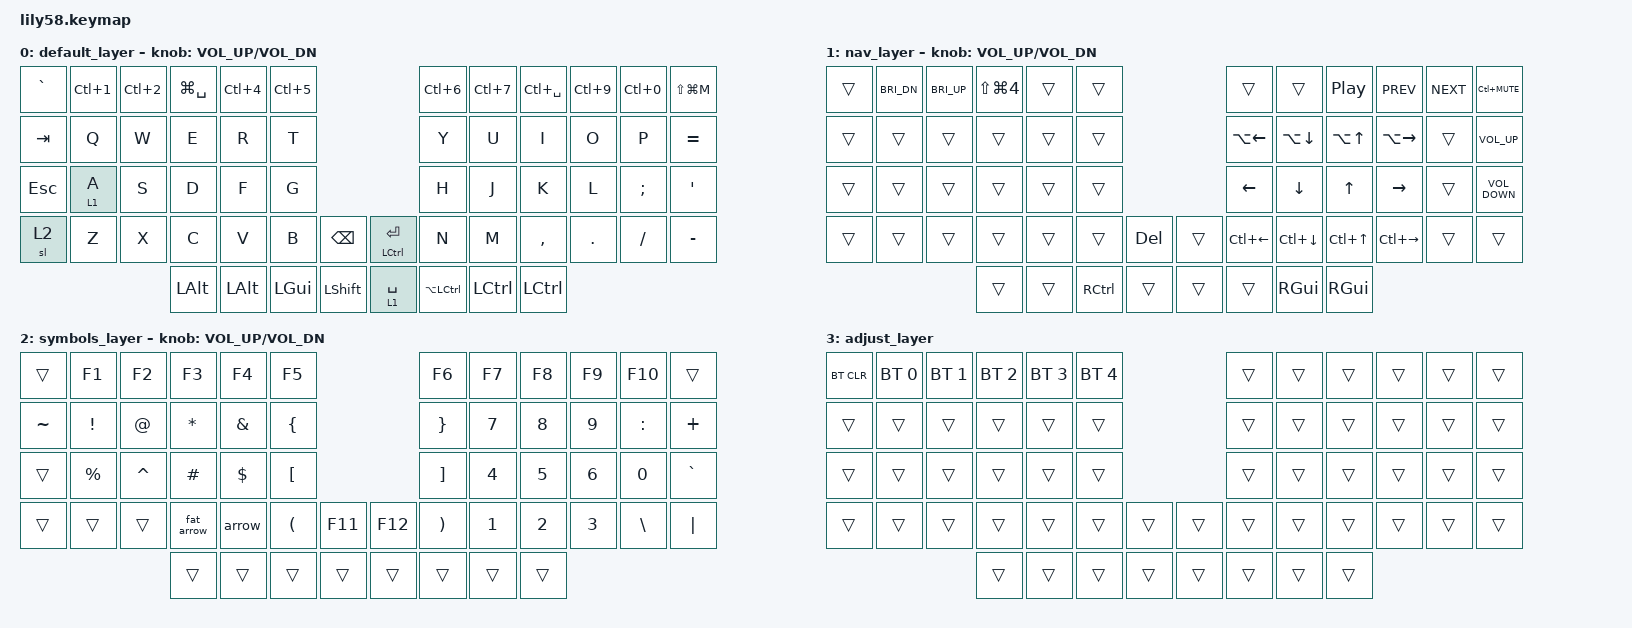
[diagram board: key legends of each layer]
/*
 * Copyright (c) 2020 The ZMK Contributors
 *
 * SPDX-License-Identifier: MIT
 */

#include <behaviors.dtsi>
#include <dt-bindings/zmk/bt.h>
#include <dt-bindings/zmk/keys.h>

/ {
    macros {
        arrow: arrow {
            compatible = "zmk,behavior-macro";
            #binding-cells = <0>;
            bindings = <&kp MINUS &kp GREATER_THAN>;
            label = "ARROW";
        };

        fat_arrow: fat_arrow {
            compatible = "zmk,behavior-macro";
            #binding-cells = <0>;
            bindings = <&kp EQUAL &kp GREATER_THAN>;
            label = "FAT_ARROW";
        };
    };

    combos { compatible = "zmk,combos"; };

    keymap {
        compatible = "zmk,keymap";

        default_layer {
            // ------------------------------------------------------------------------------------------------------------
            // |  ESC  |  1  |  2  |  3   |  4   |  5   |                   |  6   |  7    |  8    |  9   |   0   |   `   |
            // |  TAB  |  Q  |  W  |  E   |  R   |  T   |                   |  Y   |  U    |  I    |  O   |   P   |   -   |
            // |  CTRL |  A  |  S  |  D   |  F   |  G   |                   |  H   |  J    |  K    |  L   |   ;   |   '   |
            // | SHIFT |  Z  |  X  |  C   |  V   |  B   |   "["  |  |  "]"  |  N   |  M    |  ,    |  .   |   /   | SHIFT |
            //                     | ALT  | GUI  | LOWER|  SPACE |  | ENTER | RAISE| BSPC  | GUI   |

            bindings = <
&kp GRAVE   &kp LC(N1)  &kp LC(N2)  &kp LG(SPACE)  &kp LC(N4)    &kp LC(N5)                                            &kp LC(N6)            &kp LC(N7)  &kp LC(SPACE)  &kp LC(NUMBER_9)  &kp LC(NUMBER_0)  &kp LS(LG(M))
&kp TAB     &kp Q       &kp W       &kp E          &kp R         &kp T                                                 &kp Y                 &kp U       &kp I          &kp O             &kp P             &kp EQUAL
&kp ESCAPE  &lt 1 A     &kp S       &kp D          &kp F         &kp G                                                 &kp H                 &kp J       &kp K          &kp L             &kp SEMICOLON     &kp SQT
&sl 2       &kp Z       &kp X       &kp C          &kp V         &kp B       &kp BACKSPACE     &mt LEFT_CONTROL ENTER  &kp N                 &kp M       &kp COMMA      &kp DOT           &kp SLASH         &kp MINUS
                                    &kp LEFT_ALT   &kp LEFT_ALT  &kp LGUI    &kp LEFT_SHIFT    &lt 1 SPACE             &kp LA(LEFT_CONTROL)  &kp LCTRL   &kp LCTRL
            >;

            sensor-bindings = <&inc_dec_kp C_VOL_UP C_VOL_DN>;
        };

        nav_layer {
            // --------------------------------------------------------------------------------------------------------------
            // | LPAD  | BRDn | BRUp |  MUT |  Vo- |  Vo+ |                   |      |       |       |      |       |       |
            // |  F1   |  F2  |  F3  |  F4  |  F5  |  F6  |                   |  F7  |  F8   |  F9   |  F10 |  F11  |  F12  |
            // |   `   |  !   |  @   |  #   |  $   |  %   |                   |  ^   |  &    |  *    |  (   |   )   |   ~   |
            // |       |      |      |      |      |      |        |  |       |      |  _    |  +    |  {   |   }   |  "|"  |
            //                       |      |      |      |        |  |       |      |       |       |

            bindings = <
&trans  &kp C_BRI_DN  &kp C_BRI_UP  &kp LS(LG(NUMBER_4))  &trans  &trans                                   &trans        &trans              &kp C_PLAY_PAUSE  &kp C_PREV     &kp C_NEXT  &kp LC(C_MUTE)
&trans  &trans        &trans        &trans                &trans  &trans                                   &kp LA(LEFT)  &kp LA(DOWN_ARROW)  &kp LA(UP_ARROW)  &kp LA(RIGHT)  &trans      &kp C_VOL_UP
&trans  &trans        &trans        &trans                &trans  &trans                                   &kp LEFT      &kp DOWN            &kp UP_ARROW      &kp RIGHT      &trans      &kp C_VOLUME_DOWN
&trans  &trans        &trans        &trans                &trans  &trans             &kp DELETE    &trans  &kp LC(LEFT)  &kp LC(DOWN)        &kp LC(UP_ARROW)  &kp LC(RIGHT)  &trans      &trans
                                    &trans                &trans  &kp RIGHT_CONTROL  &trans        &trans  &trans        &kp RIGHT_GUI       &kp RIGHT_GUI
            >;

            sensor-bindings = <&inc_dec_kp C_VOL_UP C_VOL_DN>;
        };

        symbols_layer {
            // ------------------------------------------------------------------------------------------------------------
            // |       |     |     |      |      |      |                   |      |       |       |      |       |       |
            // |   `   |  1  |  2  |  3   |  4   |  5   |                   |  6   |   7   |   8   |  9   |   0   |       |
            // |   F1  |  F2 |  F3 |  F4  |  F5  |  F6  |                   |      |   <-  |   v   |  ^   |  ->   |       |
            // |   F7  |  F8 |  F9 |  F10 |  F11 |  F12 |        |  |       |  +   |   -   |   =   |  [   |   ]   |   \   |
            //                     |      |      |      |        |  |       |      |       |       |

            bindings = <
&trans     &kp F1       &kp F2       &kp F3        &kp F4         &kp F5                                    &kp F6                 &kp F7  &kp F8  &kp F9  &kp F10        &trans
&kp TILDE  &kp EXCL     &kp AT_SIGN  &kp ASTERISK  &kp AMPERSAND  &kp LEFT_BRACE                            &kp RIGHT_BRACE        &kp N7  &kp N8  &kp N9  &kp COLON      &kp PLUS
&trans     &kp PERCENT  &kp CARET    &kp HASH      &kp DOLLAR     &kp LBKT                                  &kp RIGHT_BRACKET      &kp N4  &kp N5  &kp N6  &kp NUMBER_0   &kp GRAVE
&trans     &trans       &trans       &fat_arrow    &arrow         &kp LEFT_PARENTHESIS  &kp F11    &kp F12  &kp RIGHT_PARENTHESIS  &kp N1  &kp N2  &kp N3  &kp BACKSLASH  &kp PIPE
                                     &trans        &trans         &trans                &trans     &trans   &trans                 &trans  &trans
            >;

            sensor-bindings = <&inc_dec_kp C_VOL_UP C_VOL_DN>;
        };

        adjust_layer {
            bindings = <
&bt BT_CLR  &bt BT_SEL 0  &bt BT_SEL 1  &bt BT_SEL 2  &bt BT_SEL 3  &bt BT_SEL 4                    &trans  &trans  &trans  &trans  &trans  &trans
&trans      &trans        &trans        &trans        &trans        &trans                          &trans  &trans  &trans  &trans  &trans  &trans
&trans      &trans        &trans        &trans        &trans        &trans                          &trans  &trans  &trans  &trans  &trans  &trans
&trans      &trans        &trans        &trans        &trans        &trans        &trans    &trans  &trans  &trans  &trans  &trans  &trans  &trans
                                        &trans        &trans        &trans        &trans    &trans  &trans  &trans  &trans
            >;
        };
    };

    conditional_layers {
        compatible = "zmk,conditional-layers";

        adjust {
            if-layers = <1 2>;
            then-layer = <3>;
        };
    };
};
